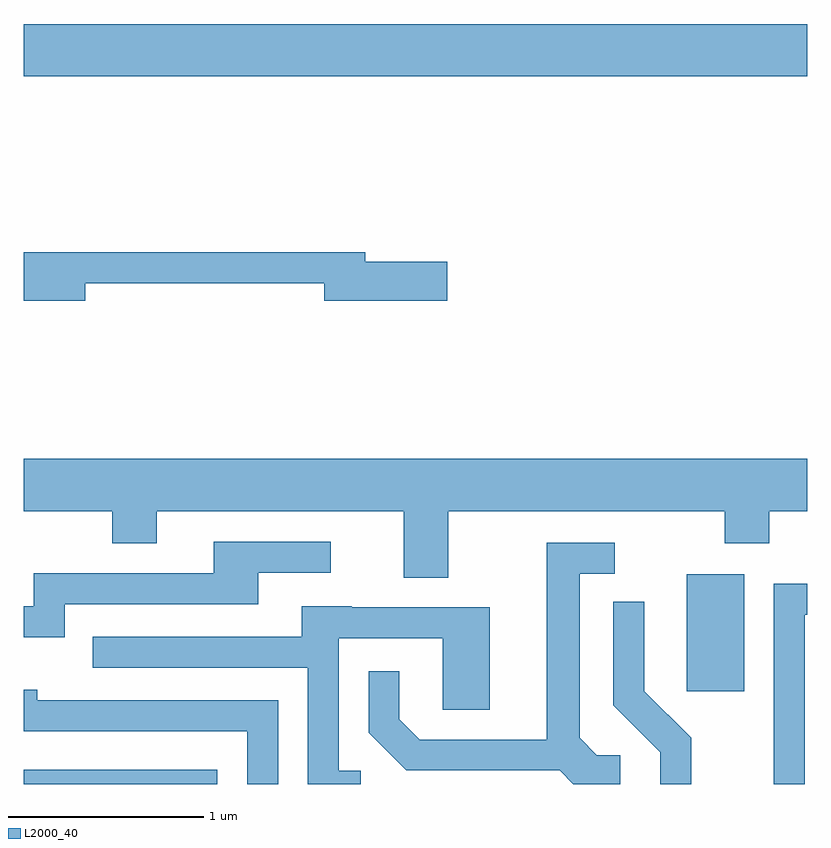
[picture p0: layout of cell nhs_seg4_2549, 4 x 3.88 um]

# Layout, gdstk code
import gdstk
lib = gdstk.Library(unit=1e-6, precision=1e-09)
def R(c, l, rs):  # rectangles x0, y0, x1, y1
    for r in rs: c.add(gdstk.rectangle(r[:2], r[2:], *l))
def P(c, l, *ps):  # polygons
    for p in ps: c.add(gdstk.Polygon(p, *l))
L2000_40 = (2000, 40)

nhs_seg4_2549 = lib.new_cell('nhs_seg4_2549')
R(nhs_seg4_2549, L2000_40, [(259.611,1319.982,260.599,1320.054), (262.996,1320.456,263.289,1321.054), (259.611,1323.596,263.611,1323.864)])
P(nhs_seg4_2549, L2000_40, [(259.924,1322.541),(261.146,1322.541),(261.146,1322.451),(261.774,1322.451),(261.774,1322.649),(261.354,1322.649),(261.354,1322.699),(259.611,1322.699),(259.611,1322.451),(259.924,1322.451)],
  [(261.779,1321.376),(263.191,1321.376),(263.191,1321.211),(263.419,1321.211),(263.419,1321.376),(263.611,1321.376),(263.611,1321.644),(259.611,1321.644),(259.611,1321.376),(260.061,1321.376),(260.061,1321.211),(260.289,1321.211),(260.289,1321.376),(261.551,1321.376),(261.551,1321.036),(261.779,1321.036)],
  [(259.819,1320.901),(260.809,1320.901),(260.809,1321.061),(261.178,1321.061),(261.178,1321.219),(260.581,1321.219),(260.581,1321.059),(259.661,1321.059),(259.661,1320.889),(259.611,1320.889),(259.611,1320.731),(259.819,1320.731)],
  [(262.658,1320.129),(262.537,1320.129),(262.449,1320.217),(262.449,1321.056),(262.628,1321.056),(262.628,1321.214),(262.281,1321.214),(262.281,1320.209),(261.632,1320.209),(261.529,1320.312),(261.529,1320.558),(261.371,1320.558),(261.371,1320.244),(261.564,1320.051),(262.349,1320.051),(262.418,1319.982),(262.658,1319.982)],
  [(263.599,1320.846),(263.611,1320.846),(263.611,1321.004),(263.441,1321.004),(263.441,1319.982),(263.599,1319.982)],
  [(263.019,1320.217),(262.779,1320.457),(262.779,1320.913),(262.621,1320.913),(262.621,1320.384),(262.861,1320.144),(262.861,1319.982),(263.019,1319.982)],
  [(261.332,1320.049),(261.219,1320.049),(261.219,1320.726),(261.751,1320.726),(261.751,1320.361),(261.989,1320.361),(261.989,1320.884),(261.285,1320.884),(261.285,1320.889),(261.031,1320.889),(261.031,1320.734),(259.962,1320.734),(259.962,1320.576),(261.061,1320.576),(261.061,1319.982),(261.332,1319.982)],
  [(260.909,1320.409),(259.679,1320.409),(259.679,1320.464),(259.611,1320.464),(259.611,1320.251),(260.751,1320.251),(260.751,1319.982),(260.909,1319.982)])

lib.write_gds('nhs_seg4_2549.gds')
